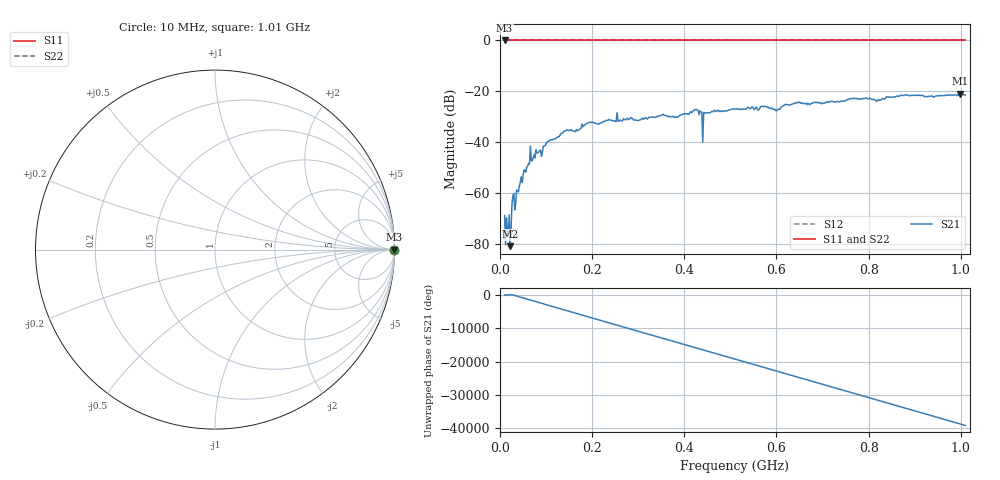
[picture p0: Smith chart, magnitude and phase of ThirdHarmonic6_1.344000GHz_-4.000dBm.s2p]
! 8/16/2025 3:05:27 PM
! C:\ANRITSUVNA\TEMP\TEMP.S2P
! CHANNEL.1
! TR.MEASUREMENT
! RAW.DATA
! RF.CORRECTION.OFF
! AVERAGING.OFF
! IF.BANDWIDTH: 5KHZ
! SWEEPTYPE:  FREQ.SWEEP(Linear)
! Reference Plane Port Info
! PORT:  PORT1  PORT2
! DISTANCE:  0  m  0  m
! TIME:  0  s  0  s
! PHASE.OFFSET:  0  deg.  0  deg.
! LOSS:  0  dB  0  dB
! REF.LOSS:  0  dB  0  dB
! REF.FREQ:  0  Hz  0  Hz
! Power Info
! POWER:  -20  dBm  -20  dBm
! EFF.POWER:  -20  dBm  -20  dBm
! SOURCE.ATTEN:  0  dB  0  dB
! TEST.ATTEN:  0  dB  0  dB
# GHZ S RI R 50.0
! FREQ.GHZ  S11RE  S11IM  S21RE  S21IM  S12RE  S12IM  S22RE  S22IM
!; PortSelection: Port_12
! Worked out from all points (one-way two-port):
!   501 points, 10 MHz to 1.01 GHz, reference 50 ohm
!   highest |S21| = -20.87 dB at 998 MHz (marker M1); lowest = -80.9 dB at 22 MHz (marker M2)
!   lowest |S11| = 0.0 dB at 10 MHz (marker M3)
!   |S11| at or under -10 dB: nowhere
!   |S22| runs from 0.0 to 0.0 dB; largest |S21 - S12| = 1.1
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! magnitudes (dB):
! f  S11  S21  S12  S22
! 10 MHz  0.0  -68.9  0.0  0.0
! 20 MHz  0.0  -68.5  0.0  0.0
! 22 MHz  0.0  -80.9  0.0  0.0
! 30 MHz  0.0  -60.2  0.0  0.0
! 62 MHz  0.0  -48.4  0.0  0.0
! 70 MHz  0.0  -47.4  0.0  0.0
! 142 MHz  0.0  -35.5  0.0  0.0
! 178 MHz  0.0  -32.9  0.0  0.0
! 344 MHz  0.0  -29.8  0.0  0.0
! 384 MHz  0.0  -30.1  0.0  0.0
! 426 MHz  0.0  -27.1  0.0  0.0
! 434 MHz  0.0  -27.7  0.0  0.0
! 436 MHz  0.0  -28.0  0.0  0.0
! 444 MHz  0.0  -28.4  0.0  0.0
! 446 MHz  0.0  -28.5  0.0  0.0
! 510 MHz  0.0  -27.0  0.0  0.0
! 602 MHz  0.0  -27.2  0.0  0.0
! 620 MHz  0.0  -25.2  0.0  0.0
! 678 MHz  0.0  -24.8  0.0  0.0
! 844 MHz  0.0  -22.3  0.0  0.0
! 998 MHz  0.0  -20.9  0.0  0.0
! 1.01 GHz  0.0  -21.5  0.0  0.0
